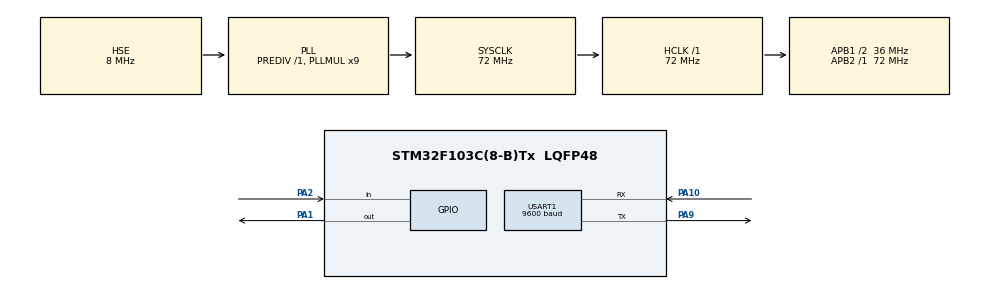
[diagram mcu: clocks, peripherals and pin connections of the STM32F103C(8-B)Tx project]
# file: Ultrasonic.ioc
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Mcu.Family=STM32F1
Mcu.Name=STM32F103C(8-B)Tx
Mcu.Package=LQFP48
NVIC.PriorityGroup=NVIC_PRIORITYGROUP_4
PA1.Signal=GPIO_Output
PA10.Mode=Asynchronous
PA10.Signal=USART1_RX
PA13.Mode=Serial_Wire
PA13.Signal=SYS_JTMS-SWDIO
PA14.Mode=Serial_Wire
PA14.Signal=SYS_JTCK-SWCLK
PA2.Signal=GPIO_Input
PA9.Mode=Asynchronous
PA9.Signal=USART1_TX
PD0-OSC_IN.Mode=HSE-External-Oscillator
PD0-OSC_IN.Signal=RCC_OSC_IN
PD1-OSC_OUT.Mode=HSE-External-Oscillator
PD1-OSC_OUT.Signal=RCC_OSC_OUT
ProjectManager.HeapSize=0x200
ProjectManager.StackSize=0x400
ProjectManager.TargetToolchain=MDK-ARM V5.27
RCC.AHBFreq_Value=72000000
RCC.APB1CLKDivider=RCC_HCLK_DIV2
RCC.APB1Freq_Value=36000000
RCC.APB1TimFreq_Value=72000000
RCC.APB2Freq_Value=72000000
RCC.APB2TimFreq_Value=72000000
RCC.HCLKFreq_Value=72000000
RCC.PLLMUL=RCC_PLL_MUL9
RCC.PLLSourceVirtual=RCC_PLLSOURCE_HSE
RCC.SYSCLKFreq_VALUE=72000000
RCC.SYSCLKSource=RCC_SYSCLKSOURCE_PLLCLK
RCC.USBFreq_Value=72000000
TIM1.Period=0xffff-1
TIM1.Prescaler=72-1
USART1.BaudRate=9600
USART1.VirtualMode=VM_ASYNC
VP_TIM1_VS_ClockSourceINT.Mode=Internal
board=custom

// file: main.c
/* USER CODE BEGIN Header */
/**
  ******************************************************************************
  * @file           : main.c
  * @brief          : Main program body
  ******************************************************************************
  * @attention
  *
  * <h2><center>&copy; Copyright (c) 2020 STMicroelectronics.
  * All rights reserved.</center></h2>
  *
  * This software component is licensed by ST under BSD 3-Clause license,
  * the "License"; You may not use this file except in compliance with the
  * License. You may obtain a copy of the License at:
  *                        opensource.org/licenses/BSD-3-Clause
  *
  ******************************************************************************
  */
/* USER CODE END Header */

#include "main.h"

/* USER CODE BEGIN Includes */
#include "stdio.h"
#include "inttypes.h"
#include "string.h"
/* USER CODE END Includes */

TIM_HandleTypeDef htim1;

UART_HandleTypeDef huart1;

void SystemClock_Config(void);
static void MX_GPIO_Init(void);
static void MX_TIM1_Init(void);
static void MX_USART1_UART_Init(void);

/* USER CODE BEGIN 0 */
void delay (uint32_t us)
{
	__HAL_TIM_SET_COUNTER(&htim1, 0);
	while ((__HAL_TIM_GET_COUNTER(&htim1))<us);
}
#define Trig_Pin  GPIO_PIN_1
#define Trig_Port GPIOA
#define Echo_Pin  GPIO_PIN_2
#define Echo_Port GPIOA

uint32_t local_time, sensor_time;
uint32_t distance;

uint32_t hcsr04_read (void)
{
	local_time=0;
	HAL_GPIO_WritePin(Trig_Port, Trig_Pin, GPIO_PIN_RESET);  // pull the TRIG pin HIGH
	delay(2);  // wait for 2 us

	HAL_GPIO_WritePin(Trig_Port, Trig_Pin, GPIO_PIN_SET);  // pull the TRIG pin HIGH
	delay(10);  // wait for 10 us
	HAL_GPIO_WritePin(Trig_Port, Trig_Pin, GPIO_PIN_RESET);  // pull the TRIG pin low

	// read the time for which the pin is high

	while (!(HAL_GPIO_ReadPin(Echo_Port, Echo_Pin)));  // wait for the ECHO pin to go high
	while (HAL_GPIO_ReadPin(Echo_Port, Echo_Pin))    // while the pin is high
	 {
		local_time++;   // measure time for which the pin is high
		delay (1);
	 }
	return local_time;
}

/* USER CODE END 0 */

int main(void)
{
  /* USER CODE BEGIN 1 */
char data[200];
  /* USER CODE END 1 */

  /* MCU Configuration--------------------------------------------------------*/

  /* Reset of all peripherals, Initializes the Flash interface and the Systick. */
  HAL_Init();

  /* Configure the system clock */
  SystemClock_Config();

  /* Initialize all configured peripherals */
  MX_GPIO_Init();
  MX_TIM1_Init();
  MX_USART1_UART_Init();
  /* USER CODE BEGIN 2 */
HAL_TIM_Base_Start(&htim1);
  /* USER CODE END 2 */
		sprintf(data,"Ultrasonic sensor\n");
	HAL_UART_Transmit(&huart1,(uint8_t *)data, strlen(data), 10);

  /* Infinite loop */
  while (1)
  {

    /* USER CODE BEGIN 3 */
		sensor_time = hcsr04_read();
	  distance  = sensor_time * .034/2;
		long  DISTANCE = (long )distance;

		sprintf(data,"\r\nDistance: %ld cm\r\n",DISTANCE);
	HAL_UART_Transmit(&huart1,(uint8_t *)data, strlen(data), 25);

		 HAL_Delay(200);
  }
  /* USER CODE END 3 */
}

void SystemClock_Config(void)
{
  RCC_OscInitTypeDef RCC_OscInitStruct = {0};
  RCC_ClkInitTypeDef RCC_ClkInitStruct = {0};

  /** Initializes the CPU, AHB and APB busses clocks
  */
  RCC_OscInitStruct.OscillatorType = RCC_OSCILLATORTYPE_HSE;
  RCC_OscInitStruct.HSEState = RCC_HSE_ON;
  RCC_OscInitStruct.HSEPredivValue = RCC_HSE_PREDIV_DIV1;
  RCC_OscInitStruct.HSIState = RCC_HSI_ON;
  RCC_OscInitStruct.PLL.PLLState = RCC_PLL_ON;
  RCC_OscInitStruct.PLL.PLLSource = RCC_PLLSOURCE_HSE;
  RCC_OscInitStruct.PLL.PLLMUL = RCC_PLL_MUL9;
  if (HAL_RCC_OscConfig(&RCC_OscInitStruct) != HAL_OK)
  {
    Error_Handler();
  }
  /** Initializes the CPU, AHB and APB busses clocks
  */
  RCC_ClkInitStruct.ClockType = RCC_CLOCKTYPE_HCLK|RCC_CLOCKTYPE_SYSCLK
                              |RCC_CLOCKTYPE_PCLK1|RCC_CLOCKTYPE_PCLK2;
  RCC_ClkInitStruct.SYSCLKSource = RCC_SYSCLKSOURCE_PLLCLK;
  RCC_ClkInitStruct.AHBCLKDivider = RCC_SYSCLK_DIV1;
  RCC_ClkInitStruct.APB1CLKDivider = RCC_HCLK_DIV2;
  RCC_ClkInitStruct.APB2CLKDivider = RCC_HCLK_DIV1;

  if (HAL_RCC_ClockConfig(&RCC_ClkInitStruct, FLASH_LATENCY_2) != HAL_OK)
  {
    Error_Handler();
  }
}

static void MX_TIM1_Init(void)
{

  TIM_ClockConfigTypeDef sClockSourceConfig = {0};
  TIM_MasterConfigTypeDef sMasterConfig = {0};

  htim1.Instance = TIM1;
  htim1.Init.Prescaler = 72-1;
  htim1.Init.CounterMode = TIM_COUNTERMODE_UP;
  htim1.Init.Period = 0xffff-1;
  htim1.Init.ClockDivision = TIM_CLOCKDIVISION_DIV1;
  htim1.Init.RepetitionCounter = 0;
  htim1.Init.AutoReloadPreload = TIM_AUTORELOAD_PRELOAD_DISABLE;
  if (HAL_TIM_Base_Init(&htim1) != HAL_OK)
  {
    Error_Handler();
  }
  sClockSourceConfig.ClockSource = TIM_CLOCKSOURCE_INTERNAL;
  if (HAL_TIM_ConfigClockSource(&htim1, &sClockSourceConfig) != HAL_OK)
  {
    Error_Handler();
  }
  sMasterConfig.MasterOutputTrigger = TIM_TRGO_RESET;
  sMasterConfig.MasterSlaveMode = TIM_MASTERSLAVEMODE_DISABLE;
  if (HAL_TIMEx_MasterConfigSynchronization(&htim1, &sMasterConfig) != HAL_OK)
  {
    Error_Handler();
  }

}

static void MX_USART1_UART_Init(void)
{

  huart1.Instance = USART1;
  huart1.Init.BaudRate = 9600;
  huart1.Init.WordLength = UART_WORDLENGTH_8B;
  huart1.Init.StopBits = UART_STOPBITS_1;
  huart1.Init.Parity = UART_PARITY_NONE;
  huart1.Init.Mode = UART_MODE_TX_RX;
  huart1.Init.HwFlowCtl = UART_HWCONTROL_NONE;
  huart1.Init.OverSampling = UART_OVERSAMPLING_16;
  if (HAL_UART_Init(&huart1) != HAL_OK)
  {
    Error_Handler();
  }

}

static void MX_GPIO_Init(void)
{
  GPIO_InitTypeDef GPIO_InitStruct = {0};

  /* GPIO Ports Clock Enable */
  __HAL_RCC_GPIOD_CLK_ENABLE();
  __HAL_RCC_GPIOA_CLK_ENABLE();

  /*Configure GPIO pin Output Level */
  HAL_GPIO_WritePin(GPIOA, GPIO_PIN_1, GPIO_PIN_RESET);

  /*Configure GPIO pin : PA1 */
  GPIO_InitStruct.Pin = GPIO_PIN_1;
  GPIO_InitStruct.Mode = GPIO_MODE_OUTPUT_PP;
  GPIO_InitStruct.Pull = GPIO_NOPULL;
  GPIO_InitStruct.Speed = GPIO_SPEED_FREQ_LOW;
  HAL_GPIO_Init(GPIOA, &GPIO_InitStruct);

  /*Configure GPIO pin : PA2 */
  GPIO_InitStruct.Pin = GPIO_PIN_2;
  GPIO_InitStruct.Mode = GPIO_MODE_INPUT;
  GPIO_InitStruct.Pull = GPIO_NOPULL;
  HAL_GPIO_Init(GPIOA, &GPIO_InitStruct);

}

void Error_Handler(void)
{
}

/************************ (C) COPYRIGHT STMicroelectronics *****END OF FILE****/
